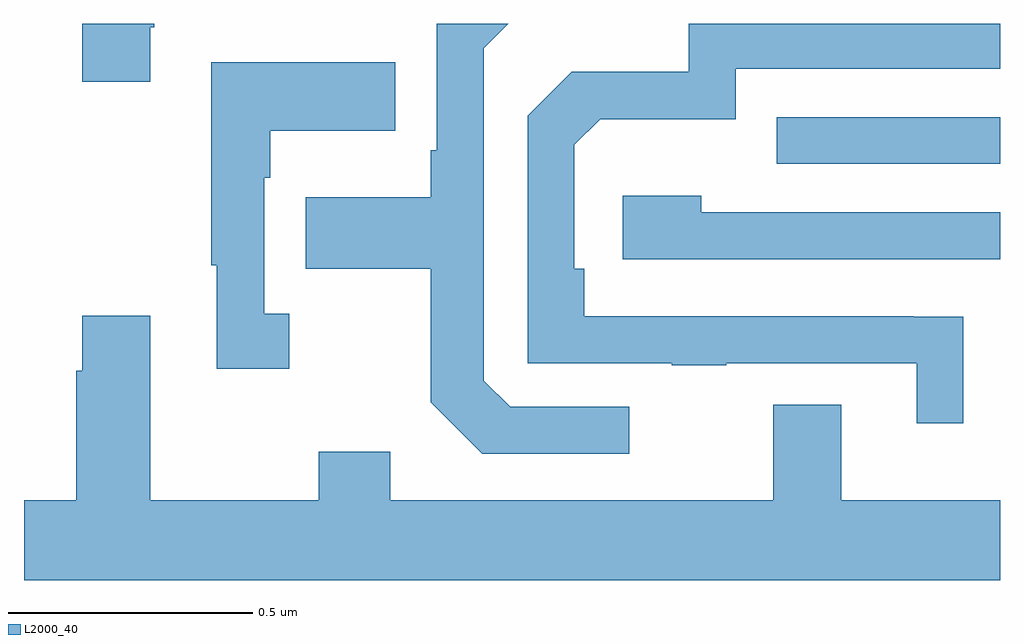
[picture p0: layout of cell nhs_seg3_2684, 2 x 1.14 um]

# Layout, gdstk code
import gdstk
lib = gdstk.Library(unit=1e-6, precision=1e-09)
def R(c, l, rs):  # rectangles x0, y0, x1, y1
    for r in rs: c.add(gdstk.rectangle(r[:2], r[2:], *l))
def P(c, l, *ps):  # polygons
    for p in ps: c.add(gdstk.Polygon(p, *l))
L2000_40 = (2000, 40)

nhs_seg3_2684 = lib.new_cell('nhs_seg3_2684')
R(nhs_seg3_2684, L2000_40, [(145.543,691.113,146,691.209)])
P(nhs_seg3_2684, L2000_40, [(144.259,691.393),(144.267,691.393),(144.267,691.4),(144.119,691.4),(144.119,691.281),(144.259,691.281)],
  [(145.925,690.8),(145.823,690.8),(145.823,690.801),(145.148,690.801),(145.148,690.898),(145.128,690.898),(145.128,691.152),(145.181,691.205),(145.458,691.205),(145.458,691.308),(146,691.308),(146,691.4),(145.362,691.4),(145.362,691.302),(145.122,691.302),(145.032,691.212),(145.032,690.705),(145.327,690.705),(145.327,690.7),(145.439,690.7),(145.439,690.705),(145.829,690.705),(145.829,690.582),(145.925,690.582)],
  [(145.24,690.615),(144.996,690.615),(144.942,690.669),(144.942,691.35),(144.992,691.4),(144.846,691.4),(144.846,691.141),(144.834,691.141),(144.834,691.045),(144.577,691.045),(144.577,690.898),(144.834,690.898),(144.834,690.625),(144.939,690.519),(145.24,690.519)],
  [(144.544,690.806),(144.492,690.806),(144.492,691.085),(144.505,691.085),(144.505,691.181),(144.761,691.181),(144.761,691.321),(144.384,691.321),(144.384,690.905),(144.395,690.905),(144.395,690.693),(144.544,690.693)],
  [(146,691.014),(145.388,691.014),(145.388,691.048),(145.227,691.048),(145.227,690.918),(146,690.918)],
  [(146,690.424),(145.675,690.424),(145.675,690.619),(145.535,690.619),(145.535,690.424),(144.751,690.424),(144.751,690.523),(144.604,690.523),(144.604,690.424),(144.259,690.424),(144.259,690.802),(144.119,690.802),(144.119,690.689),(144.107,690.689),(144.107,690.424),(144,690.424),(144,690.26),(146,690.26)])

lib.write_gds('nhs_seg3_2684.gds')
